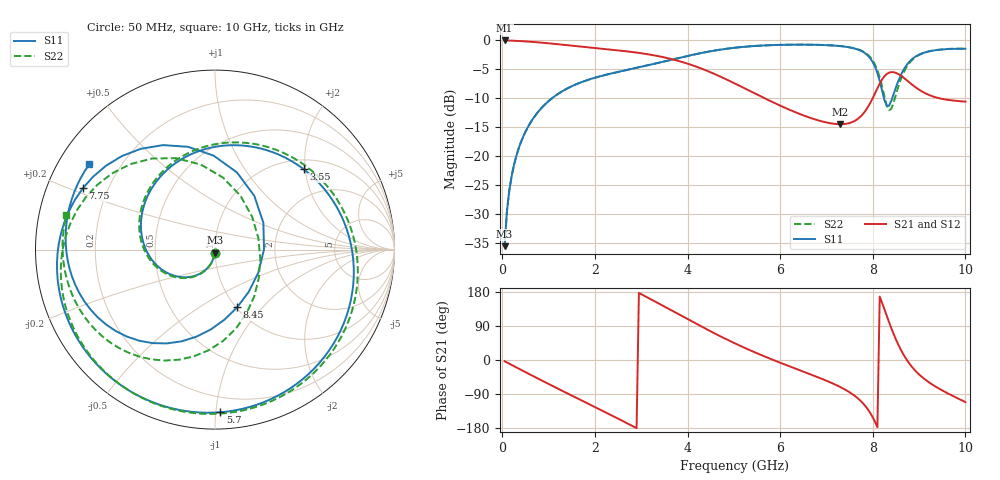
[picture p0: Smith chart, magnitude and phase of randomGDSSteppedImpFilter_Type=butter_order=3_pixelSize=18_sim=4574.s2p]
! freq	dB(S11)	phase(S11)	dB(S12)	phase(S12)
!  dB(S21)	phase(S21)	dB(S22)	phase(S22)
!S-par simulation data
#  GHz  S  DB  R 50
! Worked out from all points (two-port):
!   200 points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, 50 MHz to 10 GHz, reference 50 ohm
!   highest |S21| = 0.00 dB at 50 MHz (marker M1); lowest = -14.4 dB at 7.3 GHz (marker M2)
!   |S21| within 3 dB of the highest: start of sweep to 3.544 GHz
!   lowest |S11| = -35.5 dB at 50 MHz (marker M3), VSWR 1.03, Z = 49.9 - j1.68 ohm
!   |S11| at or under -10 dB: start of sweep to 1.07 GHz; 8.243 GHz to 8.418 GHz (175.3 MHz wide, 2.1 % of centre)
!   |S22| runs from -35.5 to -0.7 dB; largest |S21 - S12| = 0
!   S11 on the Smith chart (normalised r, x): 50 MHz: 1.00, -0.03; 3.55 GHz: 1.21, +1.96; 5.7 GHz: 0.10, -1.03; 7.75 GHz: 0.11, +0.22; 8.45 GHz: 1.01, -0.74; 10 GHz: 0.09, +0.30
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0.05  -35.48 -93.1  -0.00 -3.3  -0.00 -3.3  -35.47 -93.0
0.2  -23.48 -103.3  -0.04 -12.9  -0.04 -12.9  -23.47 -102.9
0.5  -15.75 -123.1  -0.16 -32.1  -0.16 -32.1  -15.76 -122.0
1.1  -9.81 -161.3  -0.57 -69.5  -0.57 -69.5  -9.81 -158.9
1.75  -7.07 158.3  -1.10 -108.9  -1.10 -108.9  -7.08 162.5
2.6  -5.25 105.0  -1.80 -160.9  -1.80 -160.9  -5.25 111.9
3.4  -3.81 52.4  -2.76 147.6  -2.76 147.6  -3.81 61.6
3.55  -3.52 42.3  -3.02 137.7  -3.02 137.7  -3.52 51.8
4.3  -2.16 -7.5  -4.85 88.3  -4.85 88.3  -2.16 2.8
5.05  -1.23 -53.3  -7.53 42.4  -7.53 42.4  -1.23 -42.9
5.7  -0.85 -88.2  -10.11 7.6  -10.11 7.6  -0.84 -77.7
6.7  -0.74 -136.4  -13.49 -40.0  -13.49 -40.0  -0.73 -125.4
7.3  -0.98 -168.5  -14.45 -71.5  -14.45 -71.5  -0.96 -156.3
7.75  -1.81 155.1  -13.02 -109.3  -13.02 -109.3  -1.74 169.5
8.05  -4.55 104.7  -9.10 -163.6  -9.10 -163.6  -4.19 124.8
8.2  -8.61 53.8  -6.74 151.4  -6.74 151.4  -7.87 83.8
8.35  -11.27 -28.1  -5.56 100.4  -5.56 100.4  -12.04 15.2
8.45  -9.27 -68.9  -5.48 68.7  -5.48 68.7  -10.71 -33.2
8.65  -5.28 -110.1  -6.32 17.1  -6.32 17.1  -5.83 -85.0
8.9  -2.91 -140.7  -7.94 -25.8  -7.94 -25.8  -3.02 -120.0
9.4  -1.64 -179.0  -9.91 -73.4  -9.91 -73.4  -1.62 -159.5
10  -1.44 145.9  -10.56 -111.1  -10.56 -111.1  -1.42 167.0
